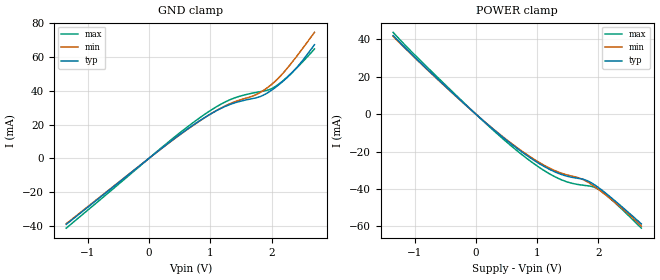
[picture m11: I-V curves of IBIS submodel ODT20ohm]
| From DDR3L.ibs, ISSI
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|   Submodel odt20ohm
[Submodel]  ODT20ohm
Submodel_type Dynamic_clamp
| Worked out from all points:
|   GND clamp passes 1 mA (typ) near -0.03 V on its own axis
|   POWER clamp passes 1 mA (typ) near -0.03 V on its own axis
[GND_clamp]
|Voltage   I(typ)   I(min)   I(max)
-1.35V    -39.15mA   -38.75mA   -41.35mA
250mV     7.134mA    7.038mA    7.652mA
600mV     16.59mA    16.44mA    17.84mA
900mV     23.94mA    23.86mA    25.84mA
1.15V     29.14mA    29.3mA     31.58mA
1.35V     32.25mA    32.81mA    35.12mA
1.75V     35.87mA    37.77mA    39.05mA
1.95V     39.12mA    42.32mA    40.53mA
2.1V      43.06mA    47.05mA    43.49mA
2.35V     51.29mA    57.62mA    51.39mA
2.5V      57.65mA    64.76mA    56.87mA
2.7V      67.29mA    74.6mA     64.78mA
[Power_clamp]
|Voltage   I(typ)   I(min)   I(max)
-1.35V    42.02mA    41.61mA    43.74mA
-150mV    4.434mA    4.352mA    4.677mA
350mV     -9.93mA    -9.714mA   -10.55mA
750mV     -20.21mA   -19.75mA   -21.62mA
1.1V      -27.73mA   -27.11mA   -29.9mA
1.35V     -31.72mA   -31.04mA   -34.46mA
1.55V     -33.68mA   -33.03mA   -36.84mA
1.75V     -34.85mA   -35mA      -38.03mA
1.9V      -37.03mA   -37.92mA   -38.75mA
2V        -39.27mA   -40.26mA   -40.2mA
2.25V     -45.83mA   -46.68mA   -46.8mA
2.7V      -58.72mA   -59.92mA   -60.99mA
